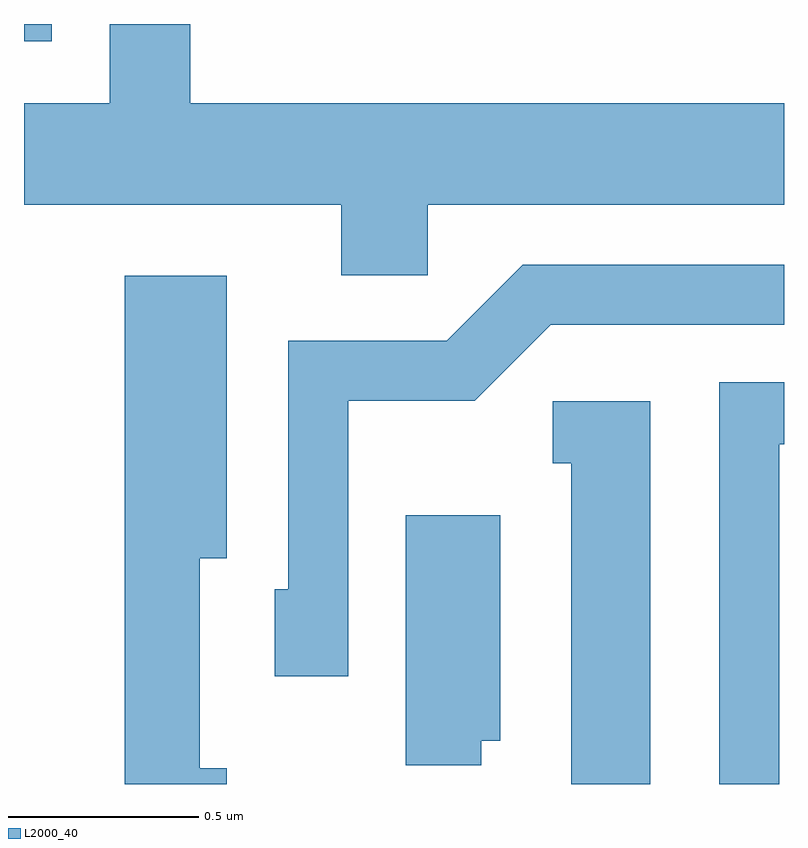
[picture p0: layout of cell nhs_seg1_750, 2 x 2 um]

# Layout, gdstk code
import gdstk
lib = gdstk.Library(unit=1e-6, precision=1e-09)
def R(c, l, rs):  # rectangles x0, y0, x1, y1
    for r in rs: c.add(gdstk.rectangle(r[:2], r[2:], *l))
def P(c, l, *ps):  # polygons
    for p in ps: c.add(gdstk.Polygon(p, *l))
L2000_40 = (2000, 40)

nhs_seg1_750 = lib.new_cell('nhs_seg1_750')
R(nhs_seg1_750, L2000_40, [(190.611,906.666,190.684,906.712)])
P(nhs_seg1_750, L2000_40, [(191.674,906.236),(192.611,906.236),(192.611,906.504),(191.049,906.504),(191.049,906.712),(190.836,906.712),(190.836,906.504),(190.611,906.504),(190.611,906.236),(191.446,906.236),(191.446,906.051),(191.674,906.051)],
  [(191.464,905.721),(191.797,905.721),(191.997,905.921),(192.611,905.921),(192.611,906.079),(191.924,906.079),(191.724,905.879),(191.306,905.879),(191.306,905.224),(191.271,905.224),(191.271,904.996),(191.464,904.996)],
  [(191.144,904.754),(191.074,904.754),(191.074,905.306),(191.144,905.306),(191.144,906.049),(190.876,906.049),(190.876,904.712),(191.144,904.712)],
  [(192.599,905.606),(192.611,905.606),(192.611,905.769),(192.441,905.769),(192.441,904.712),(192.599,904.712)],
  [(192.259,905.719),(192.003,905.719),(192.003,905.556),(192.051,905.556),(192.051,904.712),(192.259,904.712)],
  [(191.814,904.826),(191.864,904.826),(191.864,905.419),(191.616,905.419),(191.616,904.761),(191.814,904.761)])

lib.write_gds('nhs_seg1_750.gds')
